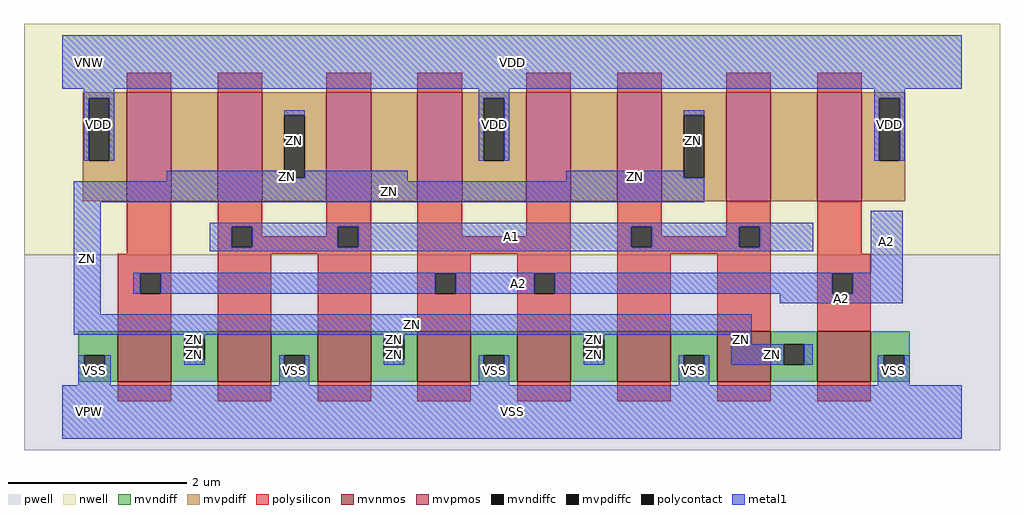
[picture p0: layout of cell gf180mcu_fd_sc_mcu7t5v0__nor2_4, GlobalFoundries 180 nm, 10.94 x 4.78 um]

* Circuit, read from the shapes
.subckt gf180mcu_fd_sc_mcu7t5v0__nor2_4 A1 A2 ZN VDD VNW VPW VSS
XM1 ZN A2 VSS VPW nfet_06v0 w=0.565u l=0.6u m=4
XM2 VSS A1 ZN VPW nfet_06v0 w=0.565u l=0.6u m=4
XM3 n1 A2 VDD VNW pfet_06v0 w=1.22u l=0.5u
XM4 ZN A1 n1 VNW pfet_06v0 w=1.22u l=0.5u
XM5 n2 A1 ZN VNW pfet_06v0 w=1.22u l=0.5u
XM6 VDD A2 n2 VNW pfet_06v0 w=1.22u l=0.5u
XM7 n3 A2 VDD VNW pfet_06v0 w=1.22u l=0.5u
XM8 ZN A1 n3 VNW pfet_06v0 w=1.22u l=0.5u
XM9 n4 A1 ZN VNW pfet_06v0 w=1.22u l=0.5u
XM10 VDD A2 n4 VNW pfet_06v0 w=1.22u l=0.5u
.ends

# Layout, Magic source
magic
tech gf180mcuD
magscale 1 10
<< nwell >>
rect -86 352 2102 870
<< pwell >>
rect -86 -86 2102 352
<< mvnmos >>
rect 124 68 244 181
rect 348 68 468 181
rect 572 68 692 181
rect 796 68 916 181
rect 1020 68 1140 181
rect 1244 68 1364 181
rect 1468 68 1588 181
rect 1692 68 1812 181
<< mvpmos >>
rect 144 472 244 716
rect 348 472 448 716
rect 592 472 692 716
rect 796 472 896 716
rect 1040 472 1140 716
rect 1244 472 1344 716
rect 1488 472 1588 716
rect 1692 472 1792 716
<< mvndiff >>
rect 36 127 124 181
rect 36 81 49 127
rect 95 81 124 127
rect 36 68 124 81
rect 244 163 348 181
rect 244 117 273 163
rect 319 117 348 163
rect 244 68 348 117
rect 468 127 572 181
rect 468 81 497 127
rect 543 81 572 127
rect 468 68 572 81
rect 692 163 796 181
rect 692 117 721 163
rect 767 117 796 163
rect 692 68 796 117
rect 916 127 1020 181
rect 916 81 945 127
rect 991 81 1020 127
rect 916 68 1020 81
rect 1140 163 1244 181
rect 1140 117 1169 163
rect 1215 117 1244 163
rect 1140 68 1244 117
rect 1364 127 1468 181
rect 1364 81 1393 127
rect 1439 81 1468 127
rect 1364 68 1468 81
rect 1588 152 1692 181
rect 1588 106 1617 152
rect 1663 106 1692 152
rect 1588 68 1692 106
rect 1812 127 1900 181
rect 1812 81 1841 127
rect 1887 81 1900 127
rect 1812 68 1900 81
<< mvpdiff >>
rect 46 703 144 716
rect 46 563 59 703
rect 105 563 144 703
rect 46 472 144 563
rect 244 472 348 716
rect 448 665 592 716
rect 448 525 497 665
rect 543 525 592 665
rect 448 472 592 525
rect 692 472 796 716
rect 896 703 1040 716
rect 896 563 945 703
rect 991 563 1040 703
rect 896 472 1040 563
rect 1140 472 1244 716
rect 1344 665 1488 716
rect 1344 525 1393 665
rect 1439 525 1488 665
rect 1344 472 1488 525
rect 1588 472 1692 716
rect 1792 703 1890 716
rect 1792 563 1831 703
rect 1877 563 1890 703
rect 1792 472 1890 563
<< mvndiffc >>
rect 49 81 95 127
rect 273 117 319 163
rect 497 81 543 127
rect 721 117 767 163
rect 945 81 991 127
rect 1169 117 1215 163
rect 1393 81 1439 127
rect 1617 106 1663 152
rect 1841 81 1887 127
<< mvpdiffc >>
rect 59 563 105 703
rect 497 525 543 665
rect 945 563 991 703
rect 1393 525 1439 665
rect 1831 563 1877 703
<< polysilicon >>
rect 144 716 244 760
rect 348 716 448 760
rect 592 716 692 760
rect 796 716 896 760
rect 1040 716 1140 760
rect 1244 716 1344 760
rect 1488 716 1588 760
rect 1692 716 1792 760
rect 144 354 244 472
rect 124 311 244 354
rect 124 265 175 311
rect 221 265 244 311
rect 124 181 244 265
rect 348 415 448 472
rect 348 369 380 415
rect 426 394 448 415
rect 592 415 692 472
rect 592 394 617 415
rect 426 369 617 394
rect 663 369 692 415
rect 348 354 692 369
rect 348 181 468 354
rect 572 181 692 354
rect 796 394 896 472
rect 1040 394 1140 472
rect 796 354 1140 394
rect 796 311 916 354
rect 796 265 836 311
rect 882 265 916 311
rect 796 181 916 265
rect 1020 311 1140 354
rect 1020 265 1058 311
rect 1104 265 1140 311
rect 1020 181 1140 265
rect 1244 415 1344 472
rect 1244 369 1275 415
rect 1321 394 1344 415
rect 1488 415 1588 472
rect 1488 394 1517 415
rect 1321 369 1517 394
rect 1563 369 1588 415
rect 1244 354 1588 369
rect 1244 181 1364 354
rect 1468 181 1588 354
rect 1692 354 1792 472
rect 1692 311 1812 354
rect 1692 265 1726 311
rect 1772 265 1812 311
rect 1692 181 1812 265
rect 124 24 244 68
rect 348 24 468 68
rect 572 24 692 68
rect 796 24 916 68
rect 1020 24 1140 68
rect 1244 24 1364 68
rect 1468 24 1588 68
rect 1692 24 1812 68
<< polycontact >>
rect 175 265 221 311
rect 380 369 426 415
rect 617 369 663 415
rect 836 265 882 311
rect 1058 265 1104 311
rect 1275 369 1321 415
rect 1517 369 1563 415
rect 1726 265 1772 311
<< metal1 >>
rect 0 724 2016 844
rect 48 703 116 724
rect 48 563 59 703
rect 105 563 116 703
rect 934 703 1002 724
rect 497 665 543 676
rect 234 525 497 540
rect 934 563 945 703
rect 991 563 1002 703
rect 1820 703 1888 724
rect 1393 665 1439 676
rect 543 525 774 540
rect 234 517 774 525
rect 1130 525 1393 540
rect 1820 563 1831 703
rect 1877 563 1888 703
rect 1130 517 1439 525
rect 26 470 1439 517
rect 26 219 86 470
rect 330 415 1683 424
rect 330 369 380 415
rect 426 369 617 415
rect 663 369 1275 415
rect 1321 369 1517 415
rect 1563 369 1683 415
rect 330 360 1683 369
rect 1812 312 1884 451
rect 159 311 1884 312
rect 159 265 175 311
rect 221 265 836 311
rect 882 265 1058 311
rect 1104 265 1726 311
rect 1772 265 1884 311
rect 1608 244 1884 265
rect 26 173 1546 219
rect 273 163 319 173
rect 36 81 49 127
rect 95 81 108 127
rect 721 163 767 173
rect 273 106 319 117
rect 36 60 108 81
rect 486 81 497 127
rect 543 81 554 127
rect 1169 163 1215 173
rect 721 106 767 117
rect 486 60 554 81
rect 934 81 945 127
rect 991 81 1002 127
rect 1500 152 1546 173
rect 1169 106 1215 117
rect 934 60 1002 81
rect 1382 81 1393 127
rect 1439 81 1450 127
rect 1500 106 1617 152
rect 1663 106 1682 152
rect 1382 60 1450 81
rect 1828 81 1841 127
rect 1887 81 1900 127
rect 1828 60 1900 81
rect 0 -60 2016 60
<< labels >>
flabel metal1 s 0 724 2016 844 0 FreeSans 400 0 0 0 VDD
port 4 nsew power bidirectional abutment
flabel metal1 s 1828 60 1900 127 0 FreeSans 400 0 0 0 VSS
port 7 nsew ground bidirectional abutment
flabel metal1 s 1393 540 1439 676 0 FreeSans 400 0 0 0 ZN
port 3 nsew default output
flabel metal1 s 330 360 1683 424 0 FreeSans 400 0 0 0 A1
port 1 nsew default input
flabel metal1 s 1812 312 1884 451 0 FreeSans 400 0 0 0 A2
port 2 nsew default input
flabel nwell s 10 734 110 834 0 FreeSans 400 0 0 0 VNW
port 5 nsew power bidirectional
flabel pwell s 10 -50 110 50 0 FreeSans 400 0 0 0 VPW
port 6 nsew ground bidirectional
rlabel metal1 s 159 265 1884 312 1 A2
port 2 nsew default input
rlabel metal1 s 1608 244 1884 265 1 A2
port 2 nsew default input
rlabel metal1 s 497 540 543 676 1 ZN
port 3 nsew default output
rlabel metal1 s 1130 517 1439 540 1 ZN
port 3 nsew default output
rlabel metal1 s 234 517 774 540 1 ZN
port 3 nsew default output
rlabel metal1 s 26 470 1439 517 1 ZN
port 3 nsew default output
rlabel metal1 s 26 219 86 470 1 ZN
port 3 nsew default output
rlabel metal1 s 26 173 1546 219 1 ZN
port 3 nsew default output
rlabel metal1 s 1500 152 1546 173 1 ZN
port 3 nsew default output
rlabel metal1 s 1169 152 1215 173 1 ZN
port 3 nsew default output
rlabel metal1 s 721 152 767 173 1 ZN
port 3 nsew default output
rlabel metal1 s 273 152 319 173 1 ZN
port 3 nsew default output
rlabel metal1 s 1500 106 1682 152 1 ZN
port 3 nsew default output
rlabel metal1 s 1169 106 1215 152 1 ZN
port 3 nsew default output
rlabel metal1 s 721 106 767 152 1 ZN
port 3 nsew default output
rlabel metal1 s 273 106 319 152 1 ZN
port 3 nsew default output
rlabel metal1 s 1820 563 1888 724 1 VDD
port 4 nsew power bidirectional abutment
rlabel metal1 s 934 563 1002 724 1 VDD
port 4 nsew power bidirectional abutment
rlabel metal1 s 48 563 116 724 1 VDD
port 4 nsew power bidirectional abutment
rlabel metal1 s 1382 60 1450 127 1 VSS
port 7 nsew ground bidirectional abutment
rlabel metal1 s 934 60 1002 127 1 VSS
port 7 nsew ground bidirectional abutment
rlabel metal1 s 486 60 554 127 1 VSS
port 7 nsew ground bidirectional abutment
rlabel metal1 s 36 60 108 127 1 VSS
port 7 nsew ground bidirectional abutment
rlabel metal1 s 0 -60 2016 60 1 VSS
port 7 nsew ground bidirectional abutment
<< properties >>
string FIXED_BBOX 0 0 2016 784
string GDS_END 747952
string GDS_FILE $PDKPATH/libs.ref/gf180mcu_fd_sc_mcu7t5v0/gds/gf180mcu_fd_sc_mcu7t5v0.gds
string GDS_START 743470
string LEFclass core
string LEFsite GF018hv5v_mcu_sc7
string LEFsymmetry X Y
<< end >>
